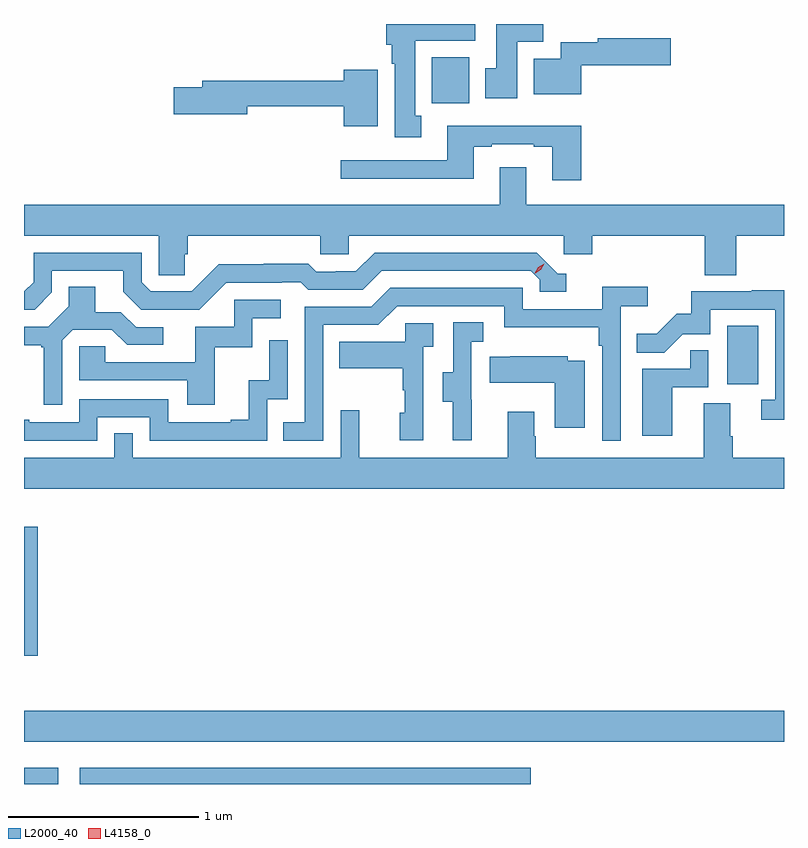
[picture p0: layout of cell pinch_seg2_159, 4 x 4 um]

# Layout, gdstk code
import gdstk
lib = gdstk.Library(unit=1e-6, precision=1e-09)
def R(c, l, rs):  # rectangles x0, y0, x1, y1
    for r in rs: c.add(gdstk.rectangle(r[:2], r[2:], *l))
def P(c, l, *ps):  # polygons
    for p in ps: c.add(gdstk.Polygon(p, *l))
L2000_40 = (2000, 40)
L4158_0 = (4158, 0)

pinch_seg2_159 = lib.new_cell('pinch_seg2_159')
R(pinch_seg2_159, L2000_40, [(1119.814,626.102,1119.994,626.188), (1120.107,626.102,1122.481,626.188), (1119.814,626.324,1123.814,626.488), (1119.814,626.776,1119.887,627.457), (1123.514,628.206,1123.678,628.513), (1121.96,629.684,1122.157,629.926)])
P(pinch_seg2_159, L2000_40, [(1122.409,630.008),(1122.548,630.008),(1122.548,630.102),(1122.299,630.102),(1122.299,629.868),(1122.242,629.868),(1122.242,629.712),(1122.409,629.712)],
  [(1121.905,629.618),(1121.872,629.618),(1121.872,630.014),(1122.19,630.014),(1122.19,630.102),(1121.72,630.102),(1121.72,629.994),(1121.75,629.994),(1121.75,629.894),(1121.765,629.894),(1121.765,629.505),(1121.905,629.505)],
  [(1122.748,629.885),(1123.219,629.885),(1123.219,630.027),(1122.834,630.027),(1122.834,630.007),(1122.638,630.007),(1122.638,629.92),(1122.497,629.92),(1122.497,629.732),(1122.748,629.732)],
  [(1121.677,629.86),(1121.498,629.86),(1121.498,629.804),(1120.751,629.804),(1120.751,629.768),(1120.602,629.768),(1120.602,629.626),(1120.99,629.626),(1120.99,629.668),(1121.498,629.668),(1121.498,629.564),(1121.677,629.564)],
  [(1122.746,629.566),(1122.041,629.566),(1122.041,629.385),(1121.481,629.385),(1121.481,629.288),(1122.181,629.288),(1122.181,629.457),(1122.277,629.457),(1122.277,629.469),(1122.497,629.469),(1122.497,629.457),(1122.593,629.457),(1122.593,629.28),(1122.746,629.28)],
  [(1120.661,628.89),(1120.676,628.89),(1120.676,628.988),(1121.373,628.988),(1121.373,628.89),(1121.523,628.89),(1121.523,628.988),(1122.654,628.988),(1122.654,628.89),(1122.806,628.89),(1122.806,628.988),(1123.397,628.988),(1123.397,628.78),(1123.562,628.78),(1123.562,628.988),(1123.814,628.988),(1123.814,629.152),(1122.457,629.152),(1122.457,629.347),(1122.317,629.347),(1122.317,629.152),(1119.814,629.152),(1119.814,628.988),(1120.524,628.988),(1120.524,628.78),(1120.661,628.78)],
  [(1119.96,628.689),(1119.96,628.803),(1120.337,628.803),(1120.337,628.693),(1120.431,628.599),(1120.737,628.599),(1120.878,628.74),(1121.171,628.74),(1121.171,628.743),(1121.27,628.743),(1121.309,628.704),(1121.598,628.704),(1121.697,628.803),(1122.48,628.803),(1122.528,628.755),(1122.528,628.692),(1122.667,628.692),(1122.667,628.788),(1122.624,628.788),(1122.513,628.899),(1121.66,628.899),(1121.561,628.8),(1121.454,628.8),(1121.454,628.797),(1121.351,628.797),(1121.309,628.84),(1121.076,628.84),(1121.076,628.837),(1120.84,628.837),(1120.698,628.695),(1120.482,628.695),(1120.434,628.743),(1120.434,628.899),(1119.864,628.899),(1119.864,628.743),(1119.816,628.695),(1119.814,628.695),(1119.814,628.599),(1119.87,628.599)],
  [(1120.014,628.437),(1120.071,628.494),(1120.277,628.494),(1120.358,628.413),(1120.546,628.413),(1120.546,628.506),(1120.404,628.506),(1120.324,628.586),(1120.189,628.586),(1120.189,628.718),(1120.049,628.718),(1120.049,628.616),(1119.942,628.509),(1119.814,628.509),(1119.814,628.412),(1119.906,628.412),(1119.906,628.401),(1119.917,628.401),(1119.917,628.098),(1120.014,628.098)],
  [(1121.388,628.518),(1121.679,628.518),(1121.778,628.617),(1122.342,628.617),(1122.342,628.505),(1122.838,628.505),(1122.838,628.409),(1122.858,628.409),(1122.858,627.909),(1122.954,627.909),(1122.954,628.616),(1123.096,628.616),(1123.096,628.718),(1122.857,628.718),(1122.857,628.602),(1122.438,628.602),(1122.438,628.713),(1121.741,628.713),(1121.642,628.614),(1121.292,628.614),(1121.292,628.005),(1121.179,628.005),(1121.179,627.909),(1121.388,627.909)],
  [(1123.814,628.7),(1123.645,628.7),(1123.645,628.695),(1123.327,628.695),(1123.327,628.578),(1123.25,628.578),(1123.143,628.471),(1123.039,628.471),(1123.039,628.372),(1123.183,628.372),(1123.281,628.47),(1123.425,628.47),(1123.425,628.599),(1123.767,628.599),(1123.767,628.125),(1123.695,628.125),(1123.695,628.02),(1123.814,628.02)],
  [(1120.817,628.401),(1121.016,628.401),(1121.016,628.554),(1121.164,628.554),(1121.164,628.65),(1120.92,628.65),(1120.92,628.509),(1120.715,628.509),(1120.715,628.323),(1120.241,628.323),(1120.241,628.407),(1120.104,628.407),(1120.104,628.227),(1120.673,628.227),(1120.673,628.098),(1120.817,628.098)],
  [(1122.17,628.125),(1122.168,628.125),(1122.168,628.429),(1122.232,628.429),(1122.232,628.532),(1122.072,628.532),(1122.072,628.269),(1122.017,628.269),(1122.017,628.114),(1122.071,628.114),(1122.071,627.912),(1122.17,627.912)],
  [(1121.916,628.403),(1121.968,628.403),(1121.968,628.527),(1121.82,628.527),(1121.82,628.429),(1121.473,628.429),(1121.473,628.289),(1121.808,628.289),(1121.808,628.175),(1121.818,628.175),(1121.818,628.056),(1121.792,628.056),(1121.792,627.912),(1121.916,627.912)],
  [(1120.2,628.032),(1120.476,628.032),(1120.476,627.909),(1121.094,627.909),(1121.094,628.128),(1121.202,628.128),(1121.202,628.438),(1121.106,628.438),(1121.106,628.226),(1120.997,628.226),(1120.997,628.018),(1120.901,628.018),(1120.901,628.005),(1120.572,628.005),(1120.572,628.128),(1120.104,628.128),(1120.104,628.005),(1119.841,628.005),(1119.841,628.018),(1119.814,628.018),(1119.814,627.909),(1120.2,627.909)],
  [(1123.225,628.191),(1123.416,628.191),(1123.416,628.385),(1123.321,628.385),(1123.321,628.287),(1123.067,628.287),(1123.067,627.936),(1123.225,627.936)],
  [(1122.766,628.33),(1122.675,628.33),(1122.675,628.354),(1122.373,628.354),(1122.373,628.351),(1122.265,628.351),(1122.265,628.214),(1122.608,628.214),(1122.608,627.978),(1122.766,627.978)],
  [(1123.814,627.82),(1123.544,627.82),(1123.544,627.932),(1123.531,627.932),(1123.531,628.106),(1123.391,628.106),(1123.391,627.82),(1122.507,627.82),(1122.507,627.932),(1122.499,627.932),(1122.499,628.06),(1122.359,628.06),(1122.359,627.82),(1121.579,627.82),(1121.579,628.069),(1121.481,628.069),(1121.481,627.82),(1120.386,627.82),(1120.386,627.947),(1120.29,627.947),(1120.29,627.82),(1119.814,627.82),(1119.814,627.656),(1123.814,627.656)])
P(pinch_seg2_159, L4158_0, [(1122.503,628.79),(1122.503,628.79),(1122.52,628.822),(1122.551,628.841),(1122.551,628.841),(1122.551,628.84),(1122.534,628.808),(1122.504,628.79)])

lib.write_gds('pinch_seg2_159.gds')
